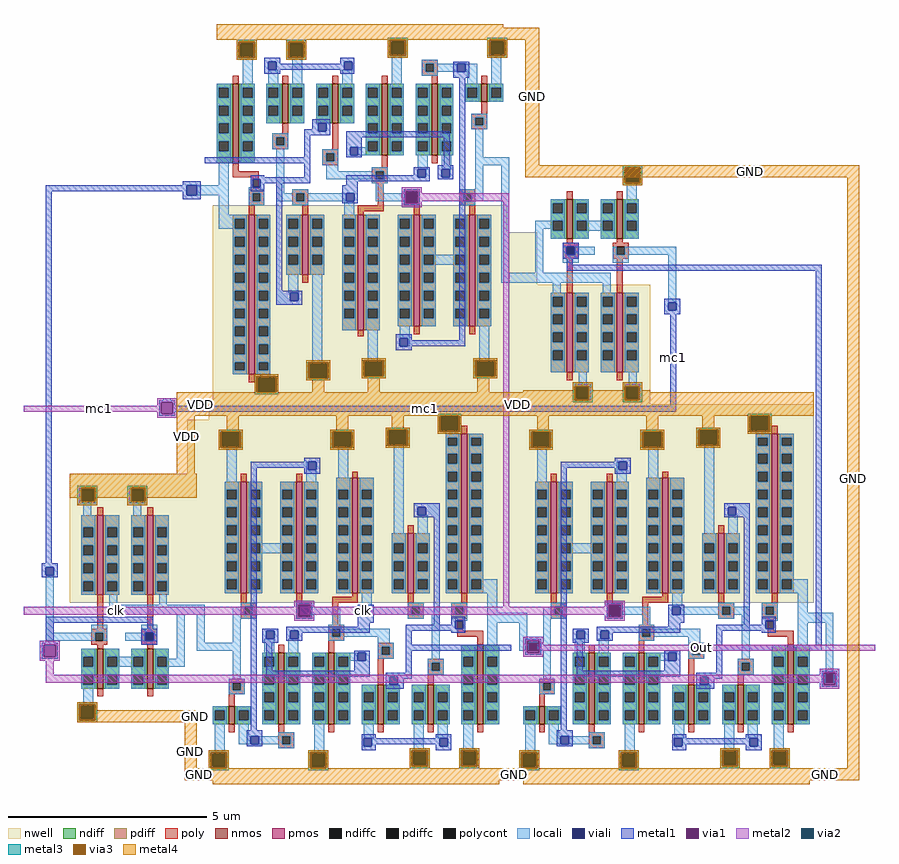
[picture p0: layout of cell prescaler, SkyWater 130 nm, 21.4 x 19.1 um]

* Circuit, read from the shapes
.subckt prescaler GND Out VDD clk mc1
XM1 nand_0/z1 nand_0/A GND VSUBS sky130_fd_pr__nfet_01v8 w=1 l=0.15
XM2 tspc_0/D tspc_1/Q nand_0/z1 VSUBS sky130_fd_pr__nfet_01v8 w=1 l=0.15
XM3 tspc_0/Z2 tspc_0/D GND VSUBS sky130_fd_pr__nfet_01v8 w=0.45 l=0.15
XM4 GND n1 nand_0/A VSUBS sky130_fd_pr__nfet_01v8 w=2 l=0.15
XM5 tspc_0/Z3 tspc_0/Z2 tspc_0/Z4 VSUBS sky130_fd_pr__nfet_01v8 w=1.8 l=0.15
XM6 GND tspc_2/Z3 n2 VSUBS sky130_fd_pr__nfet_01v8 w=1 l=0.15
XM7 tspc_0/Z4 clk GND VSUBS sky130_fd_pr__nfet_01v8 w=1.8 l=0.15
XM8 n2 clk n1 VSUBS sky130_fd_pr__nfet_01v8 w=1 l=0.15
XM9 n3 clk n4 VSUBS sky130_fd_pr__nfet_01v8 w=1 l=0.15
XM10 GND clk tspc_2/Z4 VSUBS sky130_fd_pr__nfet_01v8 w=1.8 l=0.15
XM11 n4 tspc_0/Z3 GND VSUBS sky130_fd_pr__nfet_01v8 w=1 l=0.15
XM12 tspc_2/Z4 tspc_2/Z2 tspc_2/Z3 VSUBS sky130_fd_pr__nfet_01v8 w=1.8 l=0.15
XM13 Out n3 GND VSUBS sky130_fd_pr__nfet_01v8 w=2 l=0.15
XM14 GND tspc_2/D tspc_2/Z2 VSUBS sky130_fd_pr__nfet_01v8 w=0.45 l=0.15
XM15 tspc_1/Z2 Out GND VSUBS sky130_fd_pr__nfet_01v8 w=0.45 l=0.15
XM16 nand_1/z1 n5 tspc_2/D VSUBS sky130_fd_pr__nfet_01v8 w=1 l=0.15
XM17 tspc_1/Z3 tspc_1/Z2 tspc_1/Z4 VSUBS sky130_fd_pr__nfet_01v8 w=1.8 l=0.15
XM18 GND mc1 nand_1/z1 VSUBS sky130_fd_pr__nfet_01v8 w=1 l=0.15
XM19 tspc_1/Z4 clk GND VSUBS sky130_fd_pr__nfet_01v8 w=1.8 l=0.15
XM20 n5 clk n6 VSUBS sky130_fd_pr__nfet_01v8 w=1 l=0.15
XM21 n6 tspc_1/Z3 GND VSUBS sky130_fd_pr__nfet_01v8 w=1 l=0.15
XM22 tspc_1/Q n5 GND VSUBS sky130_fd_pr__nfet_01v8 w=2 l=0.15
XM23 tspc_0/D nand_0/A VDD VDD sky130_fd_pr__pfet_01v8 w=2 l=0.15
XM24 tspc_0/D tspc_1/Q VDD VDD sky130_fd_pr__pfet_01v8 w=2 l=0.15
XM25 tspc_0/Z1 tspc_0/D VDD VDD sky130_fd_pr__pfet_01v8 w=2.8 l=0.15
XM26 VDD n1 nand_0/A VDD sky130_fd_pr__pfet_01v8 w=4 l=0.15
XM27 tspc_0/Z2 clk tspc_0/Z1 VDD sky130_fd_pr__pfet_01v8 w=2.8 l=0.15
XM28 VDD tspc_2/Z3 n1 VDD sky130_fd_pr__pfet_01v8 w=1.5 l=0.15
XM29 tspc_0/Z3 clk VDD VDD sky130_fd_pr__pfet_01v8 w=2.9 l=0.15
XM30 VDD clk tspc_2/Z3 VDD sky130_fd_pr__pfet_01v8 w=2.9 l=0.15
XM31 n3 tspc_0/Z3 VDD VDD sky130_fd_pr__pfet_01v8 w=1.5 l=0.15
XM32 tspc_2/Z1 clk tspc_2/Z2 VDD sky130_fd_pr__pfet_01v8 w=2.8 l=0.15
XM33 Out n3 VDD VDD sky130_fd_pr__pfet_01v8 w=4 l=0.15
XM34 VDD tspc_2/D tspc_2/Z1 VDD sky130_fd_pr__pfet_01v8 w=2.8 l=0.15
XM35 tspc_1/Z1 Out VDD VDD sky130_fd_pr__pfet_01v8 w=2.8 l=0.15
XM36 VDD n5 tspc_2/D VDD sky130_fd_pr__pfet_01v8 w=2 l=0.15
XM37 tspc_1/Z2 clk tspc_1/Z1 VDD sky130_fd_pr__pfet_01v8 w=2.8 l=0.15
XM38 VDD mc1 tspc_2/D VDD sky130_fd_pr__pfet_01v8 w=2 l=0.15
XM39 tspc_1/Z3 clk VDD VDD sky130_fd_pr__pfet_01v8 w=2.9 l=0.15
XM40 n5 tspc_1/Z3 VDD VDD sky130_fd_pr__pfet_01v8 w=1.5 l=0.15
XM41 tspc_1/Q n5 VDD VDD sky130_fd_pr__pfet_01v8 w=4 l=0.15
.ends

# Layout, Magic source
magic
tech sky130A
<< nwell >>
rect 965 1061 1081 1192
rect 965 1036 1082 1061
rect 997 760 1073 1036
rect 995 743 1073 760
rect 201 527 277 721
rect 195 459 277 527
rect 195 271 271 459
rect 195 265 353 271
rect 208 260 353 265
rect 995 260 1035 743
<< locali >>
rect 225 1285 245 1310
rect 990 1090 1010 1380
rect 1350 1135 1430 1155
rect 990 1065 1025 1090
rect 1410 1015 1430 1135
rect -155 185 -135 330
rect -155 165 -80 185
rect 225 160 245 255
rect 1015 210 1055 235
rect 1795 210 1825 235
rect 225 140 255 160
rect 1035 140 1055 210
rect 1805 80 1825 210
<< viali >>
rect 200 1285 225 1310
rect 1410 995 1430 1015
rect -155 330 -135 350
rect 1060 140 1080 160
rect 1805 60 1825 80
<< metal1 >>
rect 190 1310 235 1320
rect -155 1295 200 1310
rect -155 360 -140 1295
rect 190 1285 200 1295
rect 225 1285 235 1310
rect 190 1275 235 1285
rect 1350 1095 1795 1110
rect 1400 1015 1440 1025
rect 1400 995 1410 1015
rect 1430 995 1440 1015
rect 1400 985 1440 995
rect 140 770 160 775
rect 130 765 170 770
rect 130 735 135 765
rect 165 755 170 765
rect 1415 755 1430 985
rect 165 740 1430 755
rect 165 735 170 740
rect 130 730 170 735
rect -165 350 -125 360
rect -165 330 -155 350
rect -135 330 -125 350
rect -165 325 -125 330
rect -155 210 -80 225
rect -155 160 -135 210
rect 1050 165 1090 170
rect -165 155 -125 160
rect -165 125 -160 155
rect -130 125 -125 155
rect 1050 135 1055 165
rect 1085 135 1090 165
rect 1780 140 1795 1095
rect 1050 130 1090 135
rect -165 120 -125 125
rect 1795 85 1835 90
rect 1795 55 1800 85
rect 1830 55 1835 85
rect 1795 50 1835 55
<< via1 >>
rect 135 735 165 765
rect -160 125 -130 155
rect 1055 160 1085 165
rect 1055 140 1060 160
rect 1060 140 1080 160
rect 1080 140 1085 160
rect 1055 135 1085 140
rect 1800 80 1830 85
rect 1800 60 1805 80
rect 1805 60 1825 80
rect 1825 60 1830 80
rect 1800 55 1830 60
<< metal2 >>
rect 125 765 175 775
rect 125 755 135 765
rect -210 740 135 755
rect 125 735 135 740
rect 165 735 175 765
rect 125 725 175 735
rect 995 250 1010 1290
rect -210 230 255 250
rect 485 230 1035 250
rect 1045 165 1095 175
rect -170 155 -120 165
rect -170 125 -160 155
rect -130 125 -120 155
rect 1045 135 1055 165
rect 1085 155 1095 165
rect 1085 140 1930 155
rect 1085 135 1095 140
rect 1045 125 1095 135
rect -170 115 -120 125
rect -155 80 -135 115
rect 1790 85 1840 95
rect 1790 80 1800 85
rect -155 60 1800 80
rect 1790 55 1800 60
rect 1830 55 1840 85
rect 1790 45 1840 55
<< metal4 >>
rect 965 1675 1085 1705
rect 1050 1330 1085 1675
rect 1300 1330 1890 1360
rect 175 730 285 790
rect 990 730 1075 790
rect 1365 760 1775 790
rect 175 530 220 730
rect 195 -155 225 -10
rect 1860 -155 1890 1330
rect 195 -160 265 -155
rect 195 -185 270 -160
rect 985 -185 1055 -155
rect 1750 -185 1890 -155
use nand  nand_1
transform -1 0 1325 0 -1 1050
box -40 -310 300 315
use nand  nand_0
transform 1 0 -55 0 1 270
box -40 -310 300 315
use tspc  tspc_0
transform 1 0 325 0 1 295
box -70 -490 690 465
use tspc  tspc_1
transform 1 0 1105 0 1 295
box -70 -490 690 465
use tspc  tspc_2
transform -1 0 935 0 -1 1225
box -70 -490 690 465
<< labels >>
rlabel metal2 -210 740 170 755 1 mc1
rlabel metal1 170 740 1430 755 1 mc1
rlabel metal1 1415 740 1430 1015 1 mc1
rlabel metal2 -210 230 255 250 1 clk
rlabel space 255 230 1035 250 1 clk
rlabel metal2 1055 140 1930 155 1 Out
rlabel metal4 1050 1360 1085 1705 1 GND
rlabel metal4 1345 1330 1890 1360 1 GND
rlabel metal4 1860 -185 1890 1330 1 GND
rlabel metal4 1750 -185 1860 -155 1 GND
rlabel space 985 -185 1060 -155 1 GND
rlabel metal4 195 -185 225 -40 1 GND
rlabel space 195 -185 270 -155 1 GND
rlabel metal4 220 -40 225 -10 1 GND
rlabel space 175 560 225 795 1 VDD
rlabel space 175 730 295 790 1 VDD
rlabel metal4 990 730 1070 790 1 VDD
<< end >>

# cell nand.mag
magic
tech sky130A
<< nwell >>
rect -40 -10 280 315
<< nmos >>
rect 30 -225 45 -125
rect 155 -225 170 -125
<< pmos >>
rect 30 10 45 210
rect 155 10 170 210
<< ndiff >>
rect -10 -145 30 -125
rect -10 -170 -5 -145
rect 20 -170 30 -145
rect -10 -190 30 -170
rect -10 -215 -5 -190
rect 20 -215 30 -190
rect -10 -225 30 -215
rect 45 -145 85 -125
rect 45 -170 55 -145
rect 80 -170 85 -145
rect 45 -190 85 -170
rect 45 -215 55 -190
rect 80 -215 85 -190
rect 45 -225 85 -215
rect 115 -145 155 -125
rect 115 -170 120 -145
rect 145 -170 155 -145
rect 115 -190 155 -170
rect 115 -215 120 -190
rect 145 -215 155 -190
rect 115 -225 155 -215
rect 170 -145 210 -125
rect 170 -170 180 -145
rect 205 -170 210 -145
rect 170 -190 210 -170
rect 170 -215 180 -190
rect 205 -215 210 -190
rect 170 -225 210 -215
<< pdiff >>
rect -10 180 30 210
rect -10 155 -5 180
rect 20 155 30 180
rect -10 135 30 155
rect -10 110 -5 135
rect 20 110 30 135
rect -10 90 30 110
rect -10 65 -5 90
rect 20 65 30 90
rect -10 45 30 65
rect -10 20 -5 45
rect 20 20 30 45
rect -10 10 30 20
rect 45 180 85 210
rect 45 155 55 180
rect 80 155 85 180
rect 45 135 85 155
rect 45 110 55 135
rect 80 110 85 135
rect 45 90 85 110
rect 45 65 55 90
rect 80 65 85 90
rect 45 45 85 65
rect 45 20 55 45
rect 80 20 85 45
rect 45 10 85 20
rect 115 180 155 210
rect 115 155 120 180
rect 145 155 155 180
rect 115 135 155 155
rect 115 110 120 135
rect 145 110 155 135
rect 115 90 155 110
rect 115 65 120 90
rect 145 65 155 90
rect 115 45 155 65
rect 115 20 120 45
rect 145 20 155 45
rect 115 10 155 20
rect 170 180 210 210
rect 170 155 180 180
rect 205 155 210 180
rect 170 135 210 155
rect 170 110 180 135
rect 205 110 210 135
rect 170 90 210 110
rect 170 65 180 90
rect 205 65 210 90
rect 170 45 210 65
rect 170 20 180 45
rect 205 20 210 45
rect 170 10 210 20
<< ndiffc >>
rect -5 -170 20 -145
rect -5 -215 20 -190
rect 55 -170 80 -145
rect 55 -215 80 -190
rect 120 -170 145 -145
rect 120 -215 145 -190
rect 180 -170 205 -145
rect 180 -215 205 -190
<< pdiffc >>
rect -5 155 20 180
rect -5 110 20 135
rect -5 65 20 90
rect -5 20 20 45
rect 55 155 80 180
rect 55 110 80 135
rect 55 65 80 90
rect 55 20 80 45
rect 120 155 145 180
rect 120 110 145 135
rect 120 65 145 90
rect 120 20 145 45
rect 180 155 205 180
rect 180 110 205 135
rect 180 65 205 90
rect 180 20 205 45
<< poly >>
rect 30 210 45 230
rect 155 210 170 230
rect 30 -75 45 10
rect 155 -75 170 10
rect 15 -85 55 -75
rect 15 -105 25 -85
rect 45 -105 55 -85
rect 15 -115 55 -105
rect 140 -85 180 -75
rect 140 -105 150 -85
rect 170 -105 180 -85
rect 140 -115 180 -105
rect 30 -125 45 -115
rect 155 -125 170 -115
rect 30 -245 45 -225
rect 155 -245 170 -225
<< polycont >>
rect 25 -105 45 -85
rect 150 -105 170 -85
<< locali >>
rect -5 210 15 250
rect 120 210 140 250
rect -10 180 25 210
rect -10 155 -5 180
rect 20 155 25 180
rect -10 135 25 155
rect -10 110 -5 135
rect 20 110 25 135
rect -10 90 25 110
rect -10 65 -5 90
rect 20 65 25 90
rect -10 45 25 65
rect -10 20 -5 45
rect 20 20 25 45
rect -10 10 25 20
rect 50 180 85 210
rect 50 155 55 180
rect 80 155 85 180
rect 50 135 85 155
rect 50 110 55 135
rect 80 110 85 135
rect 50 90 85 110
rect 50 65 55 90
rect 80 65 85 90
rect 50 45 85 65
rect 50 20 55 45
rect 80 20 85 45
rect 50 10 85 20
rect 115 180 150 210
rect 115 155 120 180
rect 145 155 150 180
rect 115 135 150 155
rect 115 110 120 135
rect 145 110 150 135
rect 115 90 150 110
rect 115 65 120 90
rect 145 65 150 90
rect 115 45 150 65
rect 115 20 120 45
rect 145 20 150 45
rect 115 10 150 20
rect 175 180 210 210
rect 175 155 180 180
rect 205 155 210 180
rect 175 135 210 155
rect 175 110 180 135
rect 205 110 210 135
rect 175 90 210 110
rect 175 65 180 90
rect 205 65 210 90
rect 175 45 210 65
rect 175 20 180 45
rect 205 20 210 45
rect 175 10 210 20
rect 60 -15 80 10
rect 185 -15 205 10
rect 60 -40 300 -15
rect 15 -85 55 -65
rect 140 -85 180 -65
rect -25 -105 25 -85
rect 45 -105 55 -85
rect 100 -105 150 -85
rect 170 -105 180 -85
rect -10 -145 25 -125
rect -10 -170 -5 -145
rect 20 -170 25 -145
rect -10 -190 25 -170
rect -10 -215 -5 -190
rect 20 -215 25 -190
rect -10 -225 25 -215
rect 50 -145 85 -125
rect 115 -145 150 -125
rect 50 -170 55 -145
rect 80 -170 120 -145
rect 145 -170 150 -145
rect 50 -190 85 -170
rect 50 -215 55 -190
rect 80 -215 85 -190
rect 50 -225 85 -215
rect 115 -190 150 -170
rect 115 -215 120 -190
rect 145 -215 150 -190
rect 115 -225 150 -215
rect 175 -145 210 -125
rect 175 -170 180 -145
rect 205 -150 210 -145
rect 230 -150 250 -40
rect 205 -170 250 -150
rect 175 -190 210 -170
rect 175 -215 180 -190
rect 205 -215 210 -190
rect 175 -225 210 -215
rect -5 -275 20 -225
rect 15 -295 20 -275
<< viali >>
rect -5 250 15 270
rect 120 250 140 270
rect 150 -105 170 -85
rect -5 -295 15 -275
<< metal1 >>
rect -15 275 25 280
rect -15 245 -10 275
rect 20 245 25 275
rect 110 275 150 280
rect 110 245 115 275
rect 145 245 150 275
rect -25 -60 170 -45
rect 155 -75 170 -60
rect 140 -85 180 -75
rect 140 -105 150 -85
rect 170 -105 180 -85
rect 140 -115 180 -105
rect -15 -270 25 -265
rect -15 -300 -10 -270
rect 20 -300 25 -270
<< via1 >>
rect -10 270 20 275
rect -10 250 -5 270
rect -5 250 15 270
rect 15 250 20 270
rect -10 245 20 250
rect 115 270 145 275
rect 115 250 120 270
rect 120 250 140 270
rect 140 250 145 270
rect 115 245 145 250
rect -10 -275 20 -270
rect -10 -295 -5 -275
rect -5 -295 15 -275
rect 15 -295 20 -275
rect -10 -300 20 -295
<< metal2 >>
rect -15 275 25 280
rect -15 245 -10 275
rect 20 245 25 275
rect -15 240 25 245
rect 110 275 150 280
rect 110 245 115 275
rect 145 245 150 275
rect 110 240 150 245
rect -15 -270 25 -265
rect -15 -300 -10 -270
rect 20 -300 25 -270
rect -15 -305 25 -300
<< via2 >>
rect -10 245 20 275
rect 115 245 145 275
rect -10 -300 20 -270
<< metal3 >>
rect -20 280 30 285
rect -20 245 -10 280
rect 25 245 30 280
rect -20 235 30 245
rect 105 280 155 285
rect 105 245 115 280
rect 150 245 155 280
rect 105 235 155 245
rect -20 -265 30 -260
rect -20 -305 -15 -265
rect 25 -305 30 -265
rect -20 -310 30 -305
<< via3 >>
rect -10 275 25 280
rect -10 245 20 275
rect 20 245 25 275
rect 115 275 150 280
rect 115 245 145 275
rect 145 245 150 275
rect -15 -270 25 -265
rect -15 -300 -10 -270
rect -10 -300 20 -270
rect 20 -300 25 -270
rect -15 -305 25 -300
<< metal4 >>
rect -40 280 280 315
rect -40 255 -10 280
rect -20 245 -10 255
rect 25 255 115 280
rect 25 245 30 255
rect -20 235 30 245
rect 105 245 115 255
rect 150 255 280 280
rect 150 245 155 255
rect 105 235 155 245
rect -20 -265 30 -260
rect -20 -305 -15 -265
rect 25 -280 30 -265
rect 25 -305 275 -280
rect -20 -310 275 -305
<< labels >>
rlabel locali 60 -40 250 -15 1 OUT
rlabel space 100 -105 170 -85 1 B
rlabel locali -25 -105 45 -85 1 A
rlabel nwell -40 260 275 290 1 VDD
rlabel metal4 -20 -310 275 -280 1 GND
rlabel locali 55 -170 145 -145 1 z1
rlabel locali 130 222 130 222 1 vdd!
rlabel locali 6 -251 6 -251 1 gnd!
<< end >>

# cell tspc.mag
magic
tech sky130A
<< nwell >>
rect -70 -35 670 465
<< nmos >>
rect -20 -340 -5 -295
rect 105 -340 120 -160
rect 230 -340 245 -160
rect 355 -340 370 -240
rect 480 -340 495 -240
rect 605 -340 620 -140
<< pmos >>
rect 10 -10 25 270
rect 150 -10 165 270
rect 290 -10 305 280
rect 430 -10 445 140
rect 565 -10 580 390
<< ndiff >>
rect 65 -170 105 -160
rect 65 -195 70 -170
rect 95 -195 105 -170
rect 65 -215 105 -195
rect 65 -240 70 -215
rect 95 -240 105 -215
rect 65 -260 105 -240
rect 65 -285 70 -260
rect 95 -285 105 -260
rect -60 -305 -20 -295
rect -60 -330 -55 -305
rect -30 -330 -20 -305
rect -60 -340 -20 -330
rect -5 -305 35 -295
rect -5 -330 5 -305
rect 30 -330 35 -305
rect -5 -340 35 -330
rect 65 -305 105 -285
rect 65 -330 70 -305
rect 95 -330 105 -305
rect 65 -340 105 -330
rect 120 -170 160 -160
rect 120 -195 130 -170
rect 155 -195 160 -170
rect 120 -215 160 -195
rect 120 -240 130 -215
rect 155 -240 160 -215
rect 120 -260 160 -240
rect 120 -285 130 -260
rect 155 -285 160 -260
rect 120 -305 160 -285
rect 120 -330 130 -305
rect 155 -330 160 -305
rect 120 -340 160 -330
rect 190 -170 230 -160
rect 190 -195 195 -170
rect 220 -195 230 -170
rect 190 -215 230 -195
rect 190 -240 195 -215
rect 220 -240 230 -215
rect 190 -260 230 -240
rect 190 -285 195 -260
rect 220 -285 230 -260
rect 190 -305 230 -285
rect 190 -330 195 -305
rect 220 -330 230 -305
rect 190 -340 230 -330
rect 245 -170 285 -160
rect 245 -195 255 -170
rect 280 -195 285 -170
rect 245 -215 285 -195
rect 245 -240 255 -215
rect 280 -240 285 -215
rect 565 -170 605 -140
rect 565 -195 570 -170
rect 595 -195 605 -170
rect 565 -215 605 -195
rect 565 -240 570 -215
rect 595 -240 605 -215
rect 245 -260 285 -240
rect 245 -285 255 -260
rect 280 -285 285 -260
rect 245 -305 285 -285
rect 245 -330 255 -305
rect 280 -330 285 -305
rect 245 -340 285 -330
rect 315 -260 355 -240
rect 315 -285 320 -260
rect 345 -285 355 -260
rect 315 -305 355 -285
rect 315 -330 320 -305
rect 345 -330 355 -305
rect 315 -340 355 -330
rect 370 -260 410 -240
rect 370 -285 380 -260
rect 405 -285 410 -260
rect 370 -305 410 -285
rect 370 -330 380 -305
rect 405 -330 410 -305
rect 370 -340 410 -330
rect 440 -260 480 -240
rect 440 -285 445 -260
rect 470 -285 480 -260
rect 440 -305 480 -285
rect 440 -330 445 -305
rect 470 -330 480 -305
rect 440 -340 480 -330
rect 495 -260 535 -240
rect 495 -285 505 -260
rect 530 -285 535 -260
rect 495 -305 535 -285
rect 495 -330 505 -305
rect 530 -330 535 -305
rect 495 -340 535 -330
rect 565 -260 605 -240
rect 565 -285 570 -260
rect 595 -285 605 -260
rect 565 -305 605 -285
rect 565 -330 570 -305
rect 595 -330 605 -305
rect 565 -340 605 -330
rect 620 -170 660 -140
rect 620 -195 630 -170
rect 655 -195 660 -170
rect 620 -215 660 -195
rect 620 -240 630 -215
rect 655 -240 660 -215
rect 620 -260 660 -240
rect 620 -285 630 -260
rect 655 -285 660 -260
rect 620 -305 660 -285
rect 620 -330 630 -305
rect 655 -330 660 -305
rect 620 -340 660 -330
<< pdiff >>
rect 525 380 565 390
rect 525 360 530 380
rect 555 360 565 380
rect 525 340 565 360
rect 525 315 530 340
rect 555 315 565 340
rect 525 295 565 315
rect -30 250 10 270
rect -30 225 -25 250
rect 0 225 10 250
rect -30 205 10 225
rect -30 180 -25 205
rect 0 180 10 205
rect -30 160 10 180
rect -30 135 -25 160
rect 0 135 10 160
rect -30 115 10 135
rect -30 90 -25 115
rect 0 90 10 115
rect -30 70 10 90
rect -30 45 -25 70
rect 0 45 10 70
rect -30 25 10 45
rect -30 0 -25 25
rect 0 0 10 25
rect -30 -10 10 0
rect 25 250 65 270
rect 25 225 35 250
rect 60 225 65 250
rect 25 205 65 225
rect 25 180 35 205
rect 60 180 65 205
rect 25 160 65 180
rect 25 135 35 160
rect 60 135 65 160
rect 25 115 65 135
rect 25 90 35 115
rect 60 90 65 115
rect 25 70 65 90
rect 25 45 35 70
rect 60 45 65 70
rect 25 25 65 45
rect 25 0 35 25
rect 60 0 65 25
rect 25 -10 65 0
rect 110 250 150 270
rect 110 225 115 250
rect 140 225 150 250
rect 110 205 150 225
rect 110 180 115 205
rect 140 180 150 205
rect 110 160 150 180
rect 110 135 115 160
rect 140 135 150 160
rect 110 115 150 135
rect 110 90 115 115
rect 140 90 150 115
rect 110 70 150 90
rect 110 45 115 70
rect 140 45 150 70
rect 110 25 150 45
rect 110 0 115 25
rect 140 0 150 25
rect 110 -10 150 0
rect 165 250 205 270
rect 165 225 175 250
rect 200 225 205 250
rect 165 205 205 225
rect 165 180 175 205
rect 200 180 205 205
rect 165 160 205 180
rect 165 135 175 160
rect 200 135 205 160
rect 165 115 205 135
rect 165 90 175 115
rect 200 90 205 115
rect 165 70 205 90
rect 165 45 175 70
rect 200 45 205 70
rect 165 25 205 45
rect 165 0 175 25
rect 200 0 205 25
rect 165 -10 205 0
rect 250 250 290 280
rect 250 225 255 250
rect 280 225 290 250
rect 250 205 290 225
rect 250 180 255 205
rect 280 180 290 205
rect 250 160 290 180
rect 250 135 255 160
rect 280 135 290 160
rect 250 115 290 135
rect 250 90 255 115
rect 280 90 290 115
rect 250 70 290 90
rect 250 45 255 70
rect 280 45 290 70
rect 250 25 290 45
rect 250 0 255 25
rect 280 0 290 25
rect 250 -10 290 0
rect 305 250 345 280
rect 305 225 315 250
rect 340 225 345 250
rect 305 205 345 225
rect 305 180 315 205
rect 340 180 345 205
rect 305 160 345 180
rect 525 270 530 295
rect 555 270 565 295
rect 525 250 565 270
rect 525 225 530 250
rect 555 225 565 250
rect 525 205 565 225
rect 525 180 530 205
rect 555 180 565 205
rect 525 160 565 180
rect 305 135 315 160
rect 340 135 345 160
rect 305 115 345 135
rect 305 90 315 115
rect 340 90 345 115
rect 305 70 345 90
rect 305 45 315 70
rect 340 45 345 70
rect 305 25 345 45
rect 305 0 315 25
rect 340 0 345 25
rect 305 -10 345 0
rect 390 115 430 140
rect 390 90 395 115
rect 420 90 430 115
rect 390 70 430 90
rect 390 45 395 70
rect 420 45 430 70
rect 390 25 430 45
rect 390 0 395 25
rect 420 0 430 25
rect 390 -10 430 0
rect 445 115 485 140
rect 445 90 455 115
rect 480 90 485 115
rect 445 70 485 90
rect 445 45 455 70
rect 480 45 485 70
rect 445 25 485 45
rect 445 0 455 25
rect 480 0 485 25
rect 445 -10 485 0
rect 525 135 530 160
rect 555 135 565 160
rect 525 115 565 135
rect 525 90 530 115
rect 555 90 565 115
rect 525 70 565 90
rect 525 45 530 70
rect 555 45 565 70
rect 525 25 565 45
rect 525 0 530 25
rect 555 0 565 25
rect 525 -10 565 0
rect 580 380 620 390
rect 580 360 590 380
rect 615 360 620 380
rect 580 340 620 360
rect 580 315 590 340
rect 615 315 620 340
rect 580 295 620 315
rect 580 270 590 295
rect 615 270 620 295
rect 580 250 620 270
rect 580 225 590 250
rect 615 225 620 250
rect 580 205 620 225
rect 580 180 590 205
rect 615 180 620 205
rect 580 160 620 180
rect 580 135 590 160
rect 615 135 620 160
rect 580 115 620 135
rect 580 90 590 115
rect 615 90 620 115
rect 580 70 620 90
rect 580 45 590 70
rect 615 45 620 70
rect 580 25 620 45
rect 580 0 590 25
rect 615 0 620 25
rect 580 -10 620 0
<< ndiffc >>
rect 70 -195 95 -170
rect 70 -240 95 -215
rect 70 -285 95 -260
rect -55 -330 -30 -305
rect 5 -330 30 -305
rect 70 -330 95 -305
rect 130 -195 155 -170
rect 130 -240 155 -215
rect 130 -285 155 -260
rect 130 -330 155 -305
rect 195 -195 220 -170
rect 195 -240 220 -215
rect 195 -285 220 -260
rect 195 -330 220 -305
rect 255 -195 280 -170
rect 255 -240 280 -215
rect 570 -195 595 -170
rect 570 -240 595 -215
rect 255 -285 280 -260
rect 255 -330 280 -305
rect 320 -285 345 -260
rect 320 -330 345 -305
rect 380 -285 405 -260
rect 380 -330 405 -305
rect 445 -285 470 -260
rect 445 -330 470 -305
rect 505 -285 530 -260
rect 505 -330 530 -305
rect 570 -285 595 -260
rect 570 -330 595 -305
rect 630 -195 655 -170
rect 630 -240 655 -215
rect 630 -285 655 -260
rect 630 -330 655 -305
<< pdiffc >>
rect 530 360 555 380
rect 530 315 555 340
rect -25 225 0 250
rect -25 180 0 205
rect -25 135 0 160
rect -25 90 0 115
rect -25 45 0 70
rect -25 0 0 25
rect 35 225 60 250
rect 35 180 60 205
rect 35 135 60 160
rect 35 90 60 115
rect 35 45 60 70
rect 35 0 60 25
rect 115 225 140 250
rect 115 180 140 205
rect 115 135 140 160
rect 115 90 140 115
rect 115 45 140 70
rect 115 0 140 25
rect 175 225 200 250
rect 175 180 200 205
rect 175 135 200 160
rect 175 90 200 115
rect 175 45 200 70
rect 175 0 200 25
rect 255 225 280 250
rect 255 180 280 205
rect 255 135 280 160
rect 255 90 280 115
rect 255 45 280 70
rect 255 0 280 25
rect 315 225 340 250
rect 315 180 340 205
rect 530 270 555 295
rect 530 225 555 250
rect 530 180 555 205
rect 315 135 340 160
rect 315 90 340 115
rect 315 45 340 70
rect 315 0 340 25
rect 395 90 420 115
rect 395 45 420 70
rect 395 0 420 25
rect 455 90 480 115
rect 455 45 480 70
rect 455 0 480 25
rect 530 135 555 160
rect 530 90 555 115
rect 530 45 555 70
rect 530 0 555 25
rect 590 360 615 380
rect 590 315 615 340
rect 590 270 615 295
rect 590 225 615 250
rect 590 180 615 205
rect 590 135 615 160
rect 590 90 615 115
rect 590 45 615 70
rect 590 0 615 25
<< poly >>
rect 565 390 580 410
rect 10 270 25 290
rect 150 270 165 290
rect 290 280 305 295
rect 430 140 445 160
rect 10 -35 25 -10
rect 150 -35 165 -10
rect 290 -20 305 -10
rect 240 -35 305 -20
rect 430 -35 445 -10
rect 565 -35 580 -10
rect 10 -45 50 -35
rect 10 -65 20 -45
rect 40 -65 50 -45
rect 10 -75 50 -65
rect 150 -45 190 -35
rect 150 -65 160 -45
rect 180 -65 190 -45
rect 150 -75 190 -65
rect 240 -90 255 -35
rect 430 -45 470 -35
rect 430 -65 440 -45
rect 460 -65 470 -45
rect 430 -75 470 -65
rect 540 -45 580 -35
rect 540 -65 550 -45
rect 570 -65 580 -45
rect 540 -75 580 -65
rect 230 -100 270 -90
rect 230 -120 240 -100
rect 260 -120 270 -100
rect 555 -105 570 -75
rect 555 -120 620 -105
rect 230 -130 270 -120
rect 105 -160 120 -140
rect 230 -160 245 -130
rect 355 -145 395 -135
rect 605 -140 620 -120
rect -20 -235 20 -225
rect -20 -255 -10 -235
rect 10 -255 20 -235
rect -20 -265 20 -255
rect -20 -295 -5 -265
rect 355 -165 365 -145
rect 385 -165 395 -145
rect 355 -175 395 -165
rect 355 -240 370 -175
rect 480 -185 520 -175
rect 480 -205 490 -185
rect 510 -205 520 -185
rect 480 -215 520 -205
rect 480 -240 495 -215
rect -20 -360 -5 -340
rect 105 -360 120 -340
rect 230 -360 245 -340
rect 355 -360 370 -340
rect 480 -360 495 -340
rect 605 -360 620 -340
rect 105 -370 145 -360
rect 105 -390 115 -370
rect 135 -390 145 -370
rect 105 -400 145 -390
<< polycont >>
rect 20 -65 40 -45
rect 160 -65 180 -45
rect 440 -65 460 -45
rect 550 -65 570 -45
rect 240 -120 260 -100
rect -10 -255 10 -235
rect 365 -165 385 -145
rect 490 -205 510 -185
rect 115 -390 135 -370
<< locali >>
rect 525 390 550 400
rect 525 380 560 390
rect -25 270 0 360
rect 175 300 180 320
rect 175 270 200 300
rect 255 280 280 360
rect -30 250 5 270
rect -30 225 -25 250
rect 0 225 5 250
rect -30 205 5 225
rect -30 180 -25 205
rect 0 180 5 205
rect -30 160 5 180
rect -30 135 -25 160
rect 0 135 5 160
rect -30 115 5 135
rect -30 90 -25 115
rect 0 90 5 115
rect -30 70 5 90
rect -30 45 -25 70
rect 0 45 5 70
rect -30 25 5 45
rect -30 0 -25 25
rect 0 0 5 25
rect -30 -10 5 0
rect 30 250 65 270
rect 30 225 35 250
rect 60 225 65 250
rect 30 205 65 225
rect 30 180 35 205
rect 60 180 65 205
rect 30 160 65 180
rect 30 135 35 160
rect 60 135 65 160
rect 30 115 65 135
rect 110 250 145 270
rect 110 225 115 250
rect 140 225 145 250
rect 110 205 145 225
rect 110 180 115 205
rect 140 180 145 205
rect 110 160 145 180
rect 110 135 115 160
rect 140 135 145 160
rect 110 115 145 135
rect 30 90 35 115
rect 60 90 115 115
rect 140 90 145 115
rect 30 70 65 90
rect 30 45 35 70
rect 60 45 65 70
rect 30 25 65 45
rect 30 0 35 25
rect 60 0 65 25
rect 30 -10 65 0
rect 110 70 145 90
rect 110 45 115 70
rect 140 45 145 70
rect 110 25 145 45
rect 110 0 115 25
rect 140 0 145 25
rect 110 -10 145 0
rect 170 250 205 270
rect 170 225 175 250
rect 200 225 205 250
rect 170 205 205 225
rect 170 180 175 205
rect 200 180 205 205
rect 170 160 205 180
rect 170 135 175 160
rect 200 135 205 160
rect 170 115 205 135
rect 170 90 175 115
rect 200 90 205 115
rect 170 70 205 90
rect 170 45 175 70
rect 200 45 205 70
rect 170 25 205 45
rect 170 0 175 25
rect 200 0 205 25
rect 170 -10 205 0
rect 250 250 285 280
rect 250 225 255 250
rect 280 225 285 250
rect 250 205 285 225
rect 250 180 255 205
rect 280 180 285 205
rect 250 160 285 180
rect 250 135 255 160
rect 280 135 285 160
rect 250 115 285 135
rect 250 90 255 115
rect 280 90 285 115
rect 250 70 285 90
rect 250 45 255 70
rect 280 45 285 70
rect 250 25 285 45
rect 250 0 255 25
rect 280 0 285 25
rect 250 -10 285 0
rect 310 250 345 280
rect 310 225 315 250
rect 340 225 345 250
rect 310 205 345 225
rect 310 180 315 205
rect 340 180 345 205
rect 310 160 345 180
rect 310 135 315 160
rect 340 135 345 160
rect 395 140 420 365
rect 525 360 530 380
rect 555 360 560 380
rect 525 340 560 360
rect 525 315 530 340
rect 555 315 560 340
rect 525 295 560 315
rect 525 270 530 295
rect 555 270 560 295
rect 525 250 560 270
rect 525 225 530 250
rect 555 225 560 250
rect 525 205 560 225
rect 455 140 480 185
rect 525 180 530 205
rect 555 180 560 205
rect 525 160 560 180
rect 310 115 345 135
rect 310 90 315 115
rect 340 90 345 115
rect 310 70 345 90
rect 310 45 315 70
rect 340 45 345 70
rect 310 25 345 45
rect 310 0 315 25
rect 340 0 345 25
rect 310 -10 345 0
rect 390 115 425 140
rect 390 90 395 115
rect 420 90 425 115
rect 390 70 425 90
rect 390 45 395 70
rect 420 45 425 70
rect 390 25 425 45
rect 390 0 395 25
rect 420 0 425 25
rect 390 -10 425 0
rect 450 115 485 140
rect 450 90 455 115
rect 480 90 485 115
rect 450 70 485 90
rect 450 45 455 70
rect 480 45 485 70
rect 450 25 485 45
rect 450 0 455 25
rect 480 0 485 25
rect 450 -10 485 0
rect 525 135 530 160
rect 555 135 560 160
rect 525 115 560 135
rect 525 90 530 115
rect 555 90 560 115
rect 525 70 560 90
rect 525 45 530 70
rect 555 45 560 70
rect 525 25 560 45
rect 525 0 530 25
rect 555 0 560 25
rect 525 -10 560 0
rect 585 380 620 390
rect 585 360 590 380
rect 615 360 620 380
rect 585 340 620 360
rect 585 315 590 340
rect 615 315 620 340
rect 585 295 620 315
rect 585 270 590 295
rect 615 270 620 295
rect 585 250 620 270
rect 585 225 590 250
rect 615 225 620 250
rect 585 205 620 225
rect 585 180 590 205
rect 615 180 620 205
rect 585 160 620 180
rect 585 135 590 160
rect 615 135 620 160
rect 585 115 620 135
rect 585 90 590 115
rect 615 90 620 115
rect 585 70 620 90
rect 585 45 590 70
rect 615 45 620 70
rect 585 25 620 45
rect 585 0 590 25
rect 615 0 655 25
rect 585 -10 655 0
rect 10 -45 50 -35
rect -10 -65 20 -45
rect 40 -65 50 -45
rect -10 -75 50 -65
rect 150 -45 190 -35
rect 315 -45 340 -10
rect 430 -45 470 -35
rect 540 -45 580 -35
rect 150 -65 160 -45
rect 180 -65 260 -45
rect 335 -65 440 -45
rect 460 -65 510 -45
rect 150 -75 190 -65
rect -10 -135 10 -75
rect 240 -90 260 -65
rect 430 -75 470 -65
rect 230 -100 270 -90
rect -70 -155 10 -135
rect -10 -225 10 -155
rect 70 -160 95 -125
rect 130 -160 155 -125
rect 230 -120 240 -100
rect 260 -120 385 -100
rect 230 -130 270 -120
rect 355 -135 385 -120
rect 355 -145 395 -135
rect 65 -170 100 -160
rect 65 -195 70 -170
rect 95 -195 100 -170
rect 65 -215 100 -195
rect -20 -235 20 -225
rect -20 -255 -10 -235
rect 10 -255 20 -235
rect -20 -265 20 -255
rect 65 -240 70 -215
rect 95 -240 100 -215
rect 65 -260 100 -240
rect 65 -285 70 -260
rect 95 -285 100 -260
rect -60 -305 -25 -295
rect -60 -330 -55 -305
rect -30 -330 -25 -305
rect -60 -340 -25 -330
rect 0 -305 35 -295
rect 0 -330 5 -305
rect 30 -330 35 -305
rect 0 -340 35 -330
rect 65 -305 100 -285
rect 65 -330 70 -305
rect 95 -330 100 -305
rect 65 -340 100 -330
rect 125 -170 160 -160
rect 125 -195 130 -170
rect 155 -195 160 -170
rect 125 -215 160 -195
rect 125 -240 130 -215
rect 155 -240 160 -215
rect 125 -260 160 -240
rect 125 -285 130 -260
rect 155 -285 160 -260
rect 125 -305 160 -285
rect 125 -330 130 -305
rect 155 -330 160 -305
rect 125 -340 160 -330
rect 190 -170 225 -160
rect 190 -195 195 -170
rect 220 -195 225 -170
rect 190 -215 225 -195
rect 190 -240 195 -215
rect 220 -240 225 -215
rect 190 -260 225 -240
rect 190 -285 195 -260
rect 220 -285 225 -260
rect 190 -305 225 -285
rect 190 -330 195 -305
rect 220 -330 225 -305
rect 190 -340 225 -330
rect 250 -170 305 -160
rect 250 -195 255 -170
rect 280 -180 305 -170
rect 355 -165 365 -145
rect 385 -165 395 -145
rect 355 -175 395 -165
rect 490 -175 510 -65
rect 540 -65 550 -45
rect 570 -65 580 -45
rect 540 -75 580 -65
rect 550 -80 580 -75
rect 630 -60 655 -10
rect 630 -85 690 -60
rect 630 -140 655 -85
rect 565 -170 600 -140
rect 280 -195 285 -180
rect 250 -215 285 -195
rect 480 -185 520 -175
rect 480 -205 490 -185
rect 510 -205 520 -185
rect 480 -215 520 -205
rect 565 -195 570 -170
rect 595 -195 600 -170
rect 565 -215 600 -195
rect 250 -240 255 -215
rect 280 -240 285 -215
rect 565 -240 570 -215
rect 595 -240 600 -215
rect 250 -260 285 -240
rect 250 -285 255 -260
rect 280 -285 285 -260
rect 250 -305 285 -285
rect 250 -330 255 -305
rect 280 -330 285 -305
rect 250 -340 285 -330
rect 315 -260 350 -240
rect 315 -285 320 -260
rect 345 -285 350 -260
rect 315 -305 350 -285
rect 315 -330 320 -305
rect 345 -330 350 -305
rect 315 -340 350 -330
rect 375 -260 410 -240
rect 375 -285 380 -260
rect 405 -285 410 -260
rect 375 -305 410 -285
rect 375 -330 380 -305
rect 405 -330 410 -305
rect 375 -340 410 -330
rect 440 -260 475 -240
rect 440 -285 445 -260
rect 470 -285 475 -260
rect 440 -305 475 -285
rect 440 -330 445 -305
rect 470 -330 475 -305
rect 440 -340 475 -330
rect 500 -260 535 -240
rect 500 -285 505 -260
rect 530 -285 535 -260
rect 500 -305 535 -285
rect 500 -330 505 -305
rect 530 -330 535 -305
rect 500 -340 535 -330
rect 565 -260 600 -240
rect 565 -285 570 -260
rect 595 -285 600 -260
rect 565 -305 600 -285
rect 565 -330 570 -305
rect 595 -330 600 -305
rect 565 -340 600 -330
rect 625 -170 660 -140
rect 625 -195 630 -170
rect 655 -195 660 -170
rect 625 -215 660 -195
rect 625 -240 630 -215
rect 655 -240 660 -215
rect 625 -260 660 -240
rect 625 -285 630 -260
rect 655 -285 660 -260
rect 625 -305 660 -285
rect 625 -330 630 -305
rect 655 -330 660 -305
rect 625 -340 660 -330
rect -55 -420 -30 -340
rect 5 -370 30 -340
rect 105 -370 145 -360
rect 5 -390 35 -370
rect 55 -390 115 -370
rect 135 -390 145 -370
rect 105 -400 145 -390
rect -35 -440 -30 -420
rect 195 -420 220 -340
rect 320 -375 345 -340
rect 215 -440 220 -420
rect 445 -400 470 -340
rect 505 -375 530 -340
rect 570 -400 595 -340
rect 445 -415 475 -400
rect 445 -435 450 -415
rect 470 -435 475 -415
rect 570 -415 600 -400
rect 570 -435 575 -415
rect 595 -435 600 -415
rect 445 -440 470 -435
rect 570 -440 595 -435
<< viali >>
rect 525 400 545 420
rect -25 360 -5 380
rect 255 360 275 380
rect 395 365 415 385
rect 180 300 200 320
rect 455 185 475 205
rect 160 -65 180 -45
rect 315 -65 335 -45
rect 75 -125 95 -105
rect 135 -125 155 -105
rect 305 -180 325 -160
rect 550 -100 570 -80
rect 385 -240 405 -220
rect 35 -390 55 -370
rect -55 -440 -35 -420
rect 320 -395 340 -375
rect 195 -440 215 -420
rect 510 -395 530 -375
rect 450 -435 470 -415
rect 575 -435 595 -415
<< metal1 >>
rect 515 400 520 430
rect 550 400 555 430
rect 515 395 555 400
rect -35 360 -30 390
rect 0 360 5 390
rect -35 355 5 360
rect 245 360 250 390
rect 280 360 285 390
rect 385 365 390 395
rect 420 365 425 395
rect 385 360 425 365
rect 245 355 285 360
rect 170 320 210 330
rect 35 305 180 320
rect 35 -355 50 305
rect 170 300 180 305
rect 200 300 210 320
rect 170 290 210 300
rect 445 205 510 215
rect 445 185 455 205
rect 475 185 510 205
rect 445 180 510 185
rect 150 -40 190 -35
rect 150 -70 155 -40
rect 185 -70 190 -40
rect 150 -75 190 -70
rect 305 -45 345 -40
rect 305 -65 315 -45
rect 335 -65 345 -45
rect 305 -85 345 -65
rect 305 -95 335 -85
rect 495 -90 510 180
rect 540 -80 575 -70
rect 540 -90 550 -80
rect 65 -105 105 -100
rect 65 -125 75 -105
rect 95 -125 105 -105
rect 65 -135 105 -125
rect 125 -105 335 -95
rect 125 -125 135 -105
rect 155 -110 335 -105
rect 425 -100 550 -90
rect 570 -100 575 -80
rect 425 -105 575 -100
rect 155 -125 165 -110
rect 125 -130 165 -125
rect 75 -205 90 -135
rect 425 -140 440 -105
rect 540 -110 575 -105
rect 425 -155 690 -140
rect 295 -160 335 -155
rect 295 -180 305 -160
rect 325 -180 335 -160
rect 295 -205 335 -180
rect 75 -220 335 -205
rect 425 -210 440 -155
rect 375 -220 440 -210
rect 375 -240 385 -220
rect 405 -225 440 -220
rect 405 -240 420 -225
rect 375 -250 420 -240
rect 25 -370 65 -355
rect 25 -390 35 -370
rect 55 -390 65 -370
rect 25 -395 65 -390
rect 315 -375 350 -365
rect 500 -375 540 -365
rect 315 -395 320 -375
rect 340 -390 510 -375
rect 340 -395 350 -390
rect 315 -405 350 -395
rect 500 -395 510 -390
rect 530 -395 540 -375
rect 500 -405 540 -395
rect 440 -410 480 -405
rect -65 -415 -25 -410
rect -65 -445 -60 -415
rect -30 -445 -25 -415
rect -65 -450 -25 -445
rect 185 -415 225 -410
rect 185 -445 190 -415
rect 220 -445 225 -415
rect 440 -440 445 -410
rect 475 -440 480 -410
rect 440 -445 480 -440
rect 565 -410 605 -405
rect 565 -440 570 -410
rect 600 -440 605 -410
rect 565 -445 605 -440
rect 185 -450 225 -445
<< via1 >>
rect 520 420 550 430
rect 520 400 525 420
rect 525 400 545 420
rect 545 400 550 420
rect -30 380 0 390
rect -30 360 -25 380
rect -25 360 -5 380
rect -5 360 0 380
rect 250 380 280 390
rect 250 360 255 380
rect 255 360 275 380
rect 275 360 280 380
rect 390 385 420 395
rect 390 365 395 385
rect 395 365 415 385
rect 415 365 420 385
rect 155 -45 185 -40
rect 155 -65 160 -45
rect 160 -65 180 -45
rect 180 -65 185 -45
rect 155 -70 185 -65
rect -60 -420 -30 -415
rect -60 -440 -55 -420
rect -55 -440 -35 -420
rect -35 -440 -30 -420
rect -60 -445 -30 -440
rect 190 -420 220 -415
rect 190 -440 195 -420
rect 195 -440 215 -420
rect 215 -440 220 -420
rect 190 -445 220 -440
rect 445 -415 475 -410
rect 445 -435 450 -415
rect 450 -435 470 -415
rect 470 -435 475 -415
rect 445 -440 475 -435
rect 570 -415 600 -410
rect 570 -435 575 -415
rect 575 -435 595 -415
rect 595 -435 600 -415
rect 570 -440 600 -435
<< metal2 >>
rect 510 400 515 435
rect 555 400 560 435
rect -40 360 -35 395
rect 5 360 10 395
rect -40 355 10 360
rect 240 360 245 395
rect 285 360 290 395
rect 380 365 385 400
rect 425 365 430 400
rect 510 395 560 400
rect 380 360 430 365
rect 240 355 290 360
rect 145 -40 195 -30
rect 145 -45 155 -40
rect -70 -65 155 -45
rect 145 -70 155 -65
rect 185 -70 195 -40
rect 145 -80 195 -70
rect 440 -410 480 -405
rect -65 -415 -25 -410
rect -65 -445 -60 -415
rect -30 -445 -25 -415
rect -65 -450 -25 -445
rect 185 -415 225 -410
rect 185 -445 190 -415
rect 220 -445 225 -415
rect 440 -440 445 -410
rect 475 -440 480 -410
rect 440 -445 480 -440
rect 565 -410 605 -405
rect 565 -440 570 -410
rect 600 -440 605 -410
rect 565 -445 605 -440
rect 185 -450 225 -445
<< via2 >>
rect 515 430 555 435
rect 515 400 520 430
rect 520 400 550 430
rect 550 400 555 430
rect -35 390 5 395
rect -35 360 -30 390
rect -30 360 0 390
rect 0 360 5 390
rect 245 390 285 395
rect 245 360 250 390
rect 250 360 280 390
rect 280 360 285 390
rect 385 395 425 400
rect 385 365 390 395
rect 390 365 420 395
rect 420 365 425 395
rect -60 -445 -30 -415
rect 190 -445 220 -415
rect 445 -440 475 -410
rect 570 -440 600 -410
<< metal3 >>
rect 505 435 565 440
rect 375 400 435 405
rect -45 395 15 400
rect -45 355 -40 395
rect 10 355 15 395
rect 235 395 295 400
rect 235 355 240 395
rect 290 355 295 395
rect 375 360 380 400
rect 430 360 435 400
rect 505 395 510 435
rect 560 395 565 435
rect 435 -405 485 -400
rect -70 -410 -20 -405
rect -70 -450 -65 -410
rect -25 -450 -20 -410
rect -70 -455 -20 -450
rect 180 -410 230 -405
rect 180 -450 185 -410
rect 225 -450 230 -410
rect 435 -445 440 -405
rect 480 -445 485 -405
rect 435 -450 485 -445
rect 560 -405 610 -400
rect 560 -445 565 -405
rect 605 -445 610 -405
rect 560 -450 610 -445
rect 180 -455 230 -450
<< via3 >>
rect -40 360 -35 395
rect -35 360 5 395
rect 5 360 10 395
rect -40 355 10 360
rect 240 360 245 395
rect 245 360 285 395
rect 285 360 290 395
rect 240 355 290 360
rect 380 365 385 400
rect 385 365 425 400
rect 425 365 430 400
rect 380 360 430 365
rect 510 400 515 435
rect 515 400 555 435
rect 555 400 560 435
rect 510 395 560 400
rect -65 -415 -25 -410
rect -65 -445 -60 -415
rect -60 -445 -30 -415
rect -30 -445 -25 -415
rect -65 -450 -25 -445
rect 185 -415 225 -410
rect 185 -445 190 -415
rect 190 -445 220 -415
rect 220 -445 225 -415
rect 185 -450 225 -445
rect 440 -410 480 -405
rect 440 -440 445 -410
rect 445 -440 475 -410
rect 475 -440 480 -410
rect 440 -445 480 -440
rect 565 -410 605 -405
rect 565 -440 570 -410
rect 570 -440 600 -410
rect 600 -440 605 -410
rect 565 -445 605 -440
<< metal4 >>
rect -70 435 670 465
rect -25 400 5 435
rect 250 400 280 435
rect 390 405 420 435
rect 375 400 435 405
rect -45 395 15 400
rect -45 355 -40 395
rect 10 355 15 395
rect -45 350 15 355
rect 235 395 295 400
rect 235 355 240 395
rect 290 355 295 395
rect 375 360 380 400
rect 430 360 435 400
rect 505 395 510 435
rect 560 395 565 435
rect 505 390 565 395
rect 375 355 435 360
rect 235 350 295 355
rect 435 -405 485 -400
rect -70 -410 -20 -405
rect -70 -450 -65 -410
rect -25 -450 -20 -410
rect 180 -410 230 -405
rect 180 -450 185 -410
rect 225 -450 230 -410
rect 435 -445 440 -405
rect 480 -445 485 -405
rect 435 -450 485 -445
rect 560 -405 610 -400
rect 560 -445 565 -405
rect 605 -445 610 -405
rect 560 -450 610 -445
rect -70 -455 660 -450
rect -60 -490 660 -455
<< labels >>
rlabel locali -10 -255 10 -45 1 D
rlabel locali -10 -65 40 -45 1 D
rlabel locali 65 90 110 115 1 Z1
rlabel metal1 130 -110 335 -95 1 Z3
rlabel locali 490 -205 510 -45 1 Z3
rlabel metal1 75 -220 330 -205 1 Z4
rlabel space 320 -405 530 -390 1 Z5
rlabel locali 630 -85 690 -60 1 Q
rlabel space 425 -105 580 -90 1 Qbar
rlabel locali 315 -65 510 -45 1 Z3
rlabel locali 5 -390 135 -370 1 Z2
rlabel space 70 -160 95 -95 1 Z4
rlabel space 285 -180 335 -160 1 Z4
rlabel metal4 -55 -470 660 -455 1 GND
rlabel locali 269 336 269 336 1 vdd!
rlabel locali 202 -379 202 -379 1 gnd!
<< end >>
